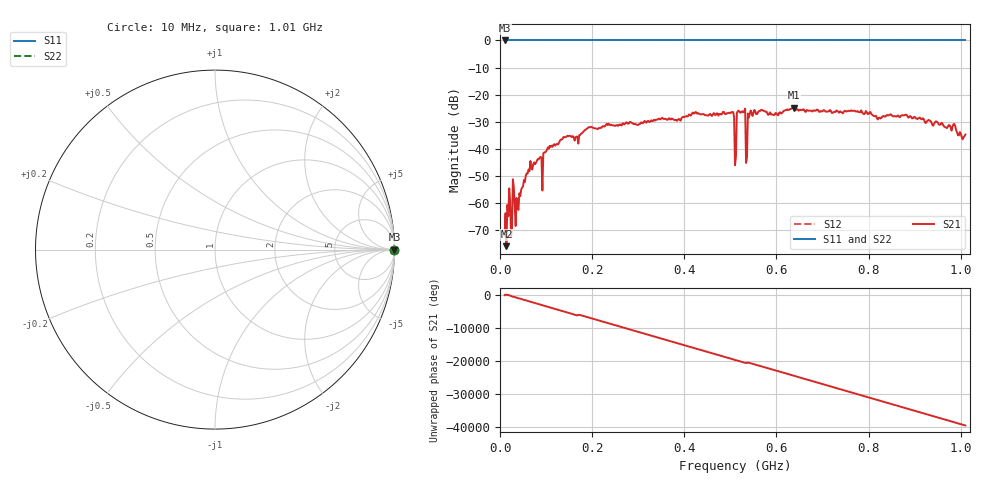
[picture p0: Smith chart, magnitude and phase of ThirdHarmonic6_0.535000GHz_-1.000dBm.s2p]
! 8/15/2025 4:43:35 PM
! C:\ANRITSUVNA\TEMP\TEMP.S2P
! CHANNEL.1
! TR.MEASUREMENT
! RAW.DATA
! RF.CORRECTION.OFF
! AVERAGING.OFF
! IF.BANDWIDTH: 5KHZ
! SWEEPTYPE:  FREQ.SWEEP(Linear)
! Reference Plane Port Info
! PORT:  PORT1  PORT2
! DISTANCE:  0  m  0  m
! TIME:  0  s  0  s
! PHASE.OFFSET:  0  deg.  0  deg.
! LOSS:  0  dB  0  dB
! REF.LOSS:  0  dB  0  dB
! REF.FREQ:  0  Hz  0  Hz
! Power Info
! POWER:  -20  dBm  -20  dBm
! EFF.POWER:  -20  dBm  -20  dBm
! SOURCE.ATTEN:  0  dB  0  dB
! TEST.ATTEN:  0  dB  0  dB
# GHZ S RI R 50.0
! FREQ.GHZ  S11RE  S11IM  S21RE  S21IM  S12RE  S12IM  S22RE  S22IM
!; PortSelection: Port_12
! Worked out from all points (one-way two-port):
!   501 points, 10 MHz to 1.01 GHz, reference 50 ohm
!   highest |S21| = -24.78 dB at 638 MHz (marker M1); lowest = -75.8 dB at 14 MHz (marker M2)
!   lowest |S11| = 0.0 dB at 10 MHz (marker M3)
!   |S11| at or under -10 dB: nowhere
!   |S22| runs from 0.0 to 0.0 dB; largest |S21 - S12| = 1.1
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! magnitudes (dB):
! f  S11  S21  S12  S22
! 10 MHz  0.0  -71.9  0.0  0.0
! 14 MHz  0.0  -75.8  0.0  0.0
! 16 MHz  0.0  -60.6  0.0  0.0
! 32 MHz  0.0  -60.8  0.0  0.0
! 36 MHz  0.0  -58.1  0.0  0.0
! 70 MHz  0.0  -47.6  0.0  0.0
! 88 MHz  0.0  -42.9  0.0  0.0
! 136 MHz  0.0  -36.2  0.0  0.0
! 178 MHz  0.0  -34.2  0.0  0.0
! 344 MHz  0.0  -28.8  0.0  0.0
! 502 MHz  0.0  -26.4  0.0  0.0
! 510 MHz  0.0  -46.0  0.0  0.0
! 514 MHz  0.0  -26.8  0.0  0.0
! 518 MHz  0.0  -25.9  0.0  0.0
! 528 MHz  0.0  -26.5  0.0  0.0
! 532 MHz  0.0  -25.1  0.0  0.0
! 538 MHz  0.0  -26.9  0.0  0.0
! 542 MHz  0.0  -27.2  0.0  0.0
! 638 MHz  0.0  -24.8  0.0  0.0
! 678 MHz  0.0  -26.2  0.0  0.0
! 844 MHz  0.0  -27.6  0.0  0.0
! 1.01 GHz  0.0  -34.7  0.0  0.0
